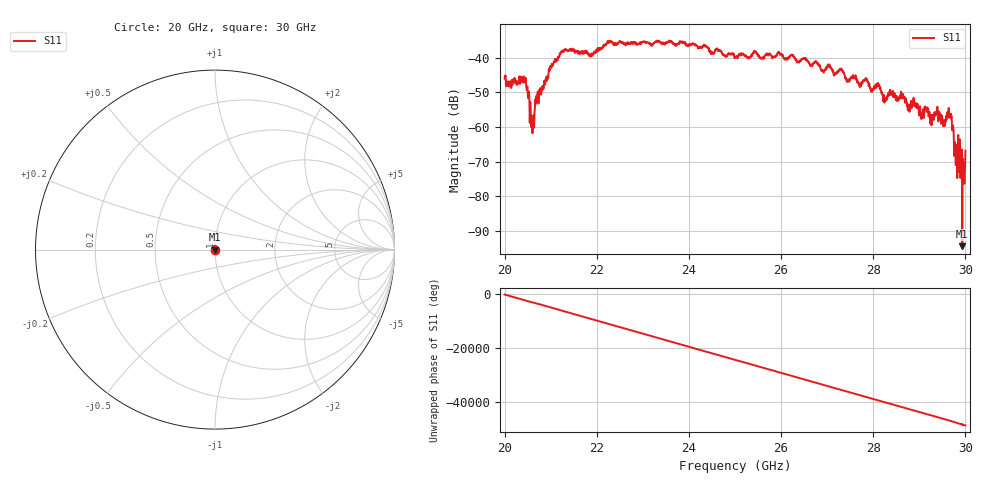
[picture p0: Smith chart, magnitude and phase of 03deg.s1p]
#  HZ  S  RI  R  50.00
! Rohde & Schwarz ZVA40 4Ports - Version 3.90 - 1145.1110k42 SN: 100403
! Date: 2023-10-03 12:39:51
! Measurement: S12
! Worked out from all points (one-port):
!   5001 points, 20 GHz to 30 GHz, reference 50 ohm
!   lowest |S11| = -94.4 dB at 29.93 GHz (marker M1), VSWR 1.00, Z = 50 + j0.00137 ohm
!   |S11| at or under -10 dB: start of sweep to end of sweep
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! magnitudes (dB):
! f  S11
! 20 GHz  -46.0
! 20.42 GHz  -45.4
! 20.61 GHz  -59.0
! 20.72 GHz  -49.9
! 21.25 GHz  -38.3
! 21.88 GHz  -38.9
! 22.26 GHz  -35.2
! 22.5 GHz  -35.4
! 23.75 GHz  -36.1
! 25 GHz  -39.7
! 26.25 GHz  -39.3
! 27.3 GHz  -43.2
! 27.5 GHz  -46.2
! 27.84 GHz  -46.4
! 27.97 GHz  -49.9
! 28.1 GHz  -47.3
! 28.26 GHz  -51.6
! 28.63 GHz  -51.8
! 28.75 GHz  -55.2
! 29.16 GHz  -55.1
! 29.27 GHz  -59.2
! 29.38 GHz  -56.1
! 29.55 GHz  -58.6
! 29.65 GHz  -56.9
! 29.79 GHz  -67.5
! 29.88 GHz  -63.9
! 29.93 GHz  -94.4
! 30 GHz  -66.8
